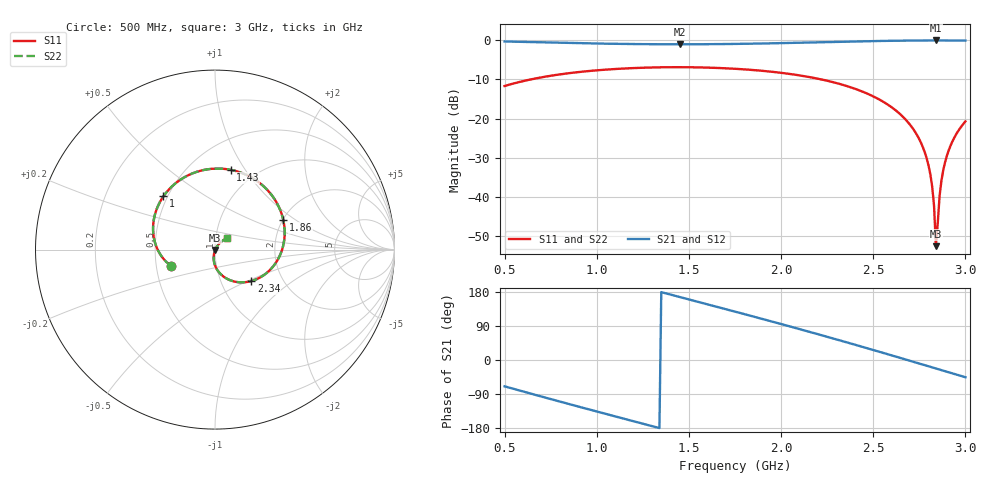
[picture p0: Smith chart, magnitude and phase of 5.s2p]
!freq-unit  param-type  data-format  keyword  impedance-ohms
# GHZ  S  RI  R  50
!Freq  ReS11  ImS11  ReS21  ImS21  ReS12  ImS12  ReS22  ImS22
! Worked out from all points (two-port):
!   251 points, 500 MHz to 3 GHz, reference 50 ohm
!   highest |S21| = -0.07 dB at 2.84 GHz (marker M1); lowest = -1.0 dB at 1.45 GHz (marker M2)
!   |S21| within 3 dB of the highest: start of sweep to end of sweep
!   lowest |S11| = -52.5 dB at 2.84 GHz (marker M3), VSWR 1.00, Z = 50.1 - j0.216 ohm
!   |S11| at or under -10 dB: start of sweep to 641.6 MHz; 2.218 GHz to end of sweep
!   |S22| runs from -52.5 to -6.9 dB; largest |S21 - S12| = 0
!   S11 on the Smith chart (normalised r, x): 500 MHz: 0.60, -0.12; 1 GHz: 0.48, +0.34; 1.43 GHz: 0.77, +0.86; 1.86 GHz: 2.01, +0.80; 2.34 GHz: 1.39, -0.53; 3 GHz: 1.13, +0.14
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0.5  -0.2443 -0.0908  0.3369 -0.9022  0.3369 -0.9022  -0.2443 -0.0908
0.7  -0.3341 0.0384  -0.1059 -0.9328  -0.1059 -0.9328  -0.3341 0.0384
0.92  -0.3229 0.2306  -0.5308 -0.7445  -0.5308 -0.7445  -0.3229 0.2306
1  -0.2873 0.2969  -0.6512 -0.6312  -0.6512 -0.6312  -0.2873 0.2969
1.17  -0.1651 0.406  -0.8286 -0.3375  -0.8286 -0.3375  -0.1651 0.406
1.34  -0.00282 0.4511  -0.8879 -0.00573  -0.8879 -0.00573  -0.00282 0.4511
1.43  0.0876 0.4445  -0.87 0.1714  -0.87 0.1714  0.0876 0.4445
1.45  0.1073 0.4401  -0.8614 0.2101  -0.8614 0.2101  0.1073 0.4401
1.75  0.3417 0.2647  -0.5482 0.7091  -0.5482 0.7091  0.3417 0.2647
1.86  0.3804 0.1651  -0.359 0.83  -0.359 0.83  0.3804 0.1651
2.17  0.3177 -0.1012  0.2868 0.8915  0.2868 0.8915  0.3177 -0.1012
2.34  0.2024 -0.1752  0.6295 0.7207  0.6295 0.7207  0.2024 -0.1752
2.59  0.0358 -0.1406  0.9545 0.232  0.9545 0.232  0.0358 -0.1406
2.71  -0.00318 -0.0777  0.9877 -0.0615  0.9877 -0.0615  -0.00318 -0.0777
2.78  -0.00709 -0.0364  0.9638 -0.2343  0.9638 -0.2343  -0.00709 -0.0364
2.82  -0.00285 -0.0132  0.9357 -0.3305  0.9357 -0.3305  -0.00285 -0.0132
2.83  -0.00107 -0.00765  0.9271 -0.354  0.9271 -0.354  -0.00107 -0.00765
2.84  0.000991 -0.00215  0.9179 -0.3773  0.9179 -0.3773  0.000991 -0.00215
2.86  0.00593 0.00849  0.8976 -0.4232  0.8976 -0.4232  0.00593 0.00849
2.89  0.0153 0.0234  0.8626 -0.4897  0.8626 -0.4897  0.0153 0.0234
2.93  0.0313 0.041  0.808 -0.5736  0.808 -0.5736  0.0313 0.041
3  0.067 0.0634  0.6925 -0.7045  0.6925 -0.7045  0.067 0.0634
